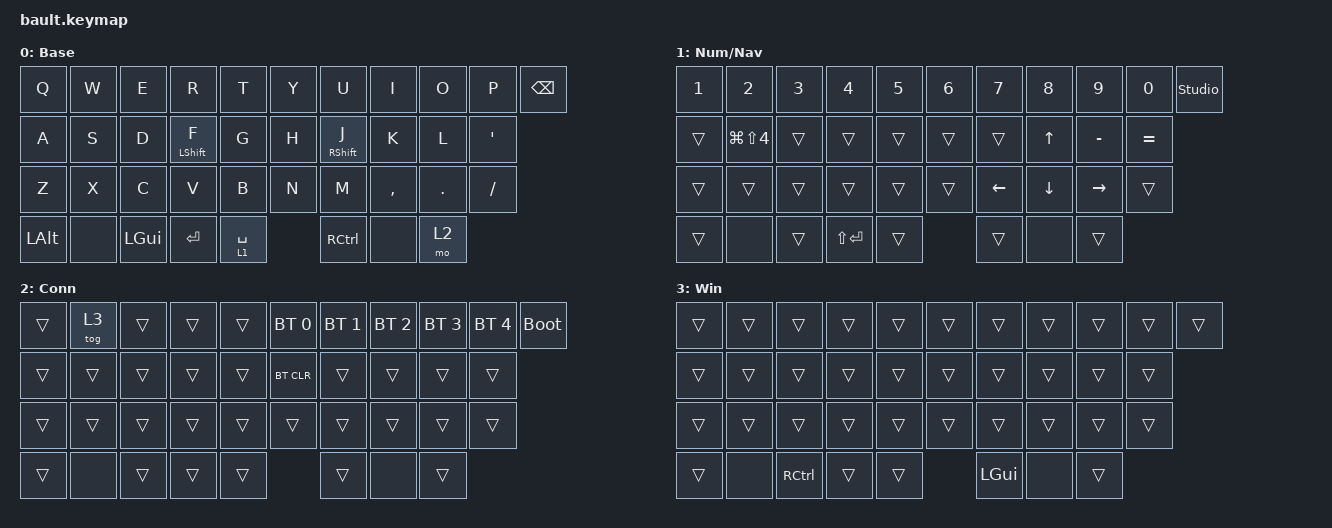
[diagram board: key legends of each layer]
#include <behaviors.dtsi>
#include <dt-bindings/zmk/keys.h>
#include <dt-bindings/zmk/bt.h>
#include <dt-bindings/zmk/outputs.h>

/*
 * BaulT keymap — reconstructed from ZMK Studio (WKL layout) on 2026-08-04.
 *
 * Bindings are in the Default (39-key) layout order:
 *   row 0: 11 keys (positions  0-10)
 *   row 1: 10 keys (positions 11-20)
 *   row 2: 10 keys (positions 21-30)
 *   row 3:  8 keys (positions 31-38)
 * The two &none keys in row 3 (col 1 = pos 32, col 8 = pos 37) are the
 * 1u positions that don't exist in the WKL layout.
 *
 * Layers:
 *   0 base      — mac base layer
 *   1 num_nav   — numbers, arrows, Shift+Enter on left big key, screenshot on S
 *   2 conn      — bluetooth, bootloader, Windows-mode toggle on W
 *   3 win       — overlay that swaps GUI <-> Ctrl for Windows (toggle: layer 2 + W)
 */

/ {

    behaviors {
        hm: homerow_mods {
            compatible = "zmk,behavior-hold-tap";
            display-name = "Homerow Mods";
            bindings = <&kp>, <&kp>;

            #binding-cells = <2>;
            tapping-term-ms = <200>;
            quick-tap-ms = <180>;
            require-prior-idle-ms = <0>;
            flavor = "tap-preferred";
        };
    };

    combos {
        compatible = "zmk,combos";

        combo_esc {
            timeout-ms = <50>;
            key-positions = <0 1>;      /* Q + W */
            bindings = <&kp ESC>;
            layers = <0 3>;
        };

        combo_tab {
            timeout-ms = <50>;
            key-positions = <11 12>;    /* A + S */
            bindings = <&kp TAB>;
            layers = <0 3>;
        };
    };

    /* Shift+Enter and Cmd+Shift+4 are plain modified keypresses (&kp LS(RET),
     * &kp LG(LS(N4))) — no macros needed. For real multi-step macros, add:
     *
     * macros {
     *     my_macro: my_macro {
     *         compatible = "zmk,behavior-macro";
     *         #binding-cells = <0>;
     *         bindings = <&kp H &kp I>;
     *     };
     * };
     */

    keymap {
        compatible = "zmk,keymap";

        base {
            display-name = "Base";
            bindings = <
                &kp Q     &kp W     &kp E     &kp R           &kp T   &kp Y  &kp U           &kp I      &kp O    &kp P  &kp BSPC
                &kp A     &kp S     &kp D     &hm LSHFT F     &kp G   &kp H  &hm RSHFT J     &kp K      &kp L    &kp SQT
                &kp Z     &kp X     &kp C     &kp V           &kp B   &kp N  &kp M           &kp COMMA  &kp DOT  &kp SLASH
                &kp LALT  &none     &kp LGUI  &kp RET         &lt 1 SPACE    &kp RCTRL       &none      &mo 2
            >;
        };

        num_nav {
            display-name = "Num/Nav";
            bindings = <
                &kp N1  &kp N2          &kp N3  &kp N4       &kp N5  &kp N6  &kp N7    &kp N8    &kp N9     &kp N0  &studio_unlock
                &trans  &kp LG(LS(N4))  &trans  &trans       &trans  &trans  &trans    &kp UP    &kp MINUS  &kp EQUAL
                &trans  &trans          &trans  &trans       &trans  &trans  &kp LEFT  &kp DOWN  &kp RIGHT  &trans
                &trans  &none           &trans  &kp LS(RET)  &trans  &trans  &none     &trans
            >;
        };

        conn {
            display-name = "Conn";
            bindings = <
                &trans  &tog 3  &trans  &trans  &trans  &bt BT_SEL 0  &bt BT_SEL 1  &bt BT_SEL 2  &bt BT_SEL 3  &bt BT_SEL 4  &bootloader
                &trans  &trans  &trans  &trans  &trans  &bt BT_CLR    &trans        &trans        &trans        &trans
                &trans  &trans  &trans  &trans  &trans  &trans        &trans        &trans        &trans        &trans
                &trans  &none   &trans  &trans  &trans  &trans        &none         &trans
            >;
        };

        win {
            display-name = "Win";
            bindings = <
                &trans  &trans  &trans     &trans  &trans  &trans  &trans     &trans  &trans  &trans  &trans
                &trans  &trans  &trans     &trans  &trans  &trans  &trans     &trans  &trans  &trans
                &trans  &trans  &trans     &trans  &trans  &trans  &trans     &trans  &trans  &trans
                &trans  &none   &kp RCTRL  &trans  &trans  &kp LGUI           &none   &trans
            >;
        };
    };
};
